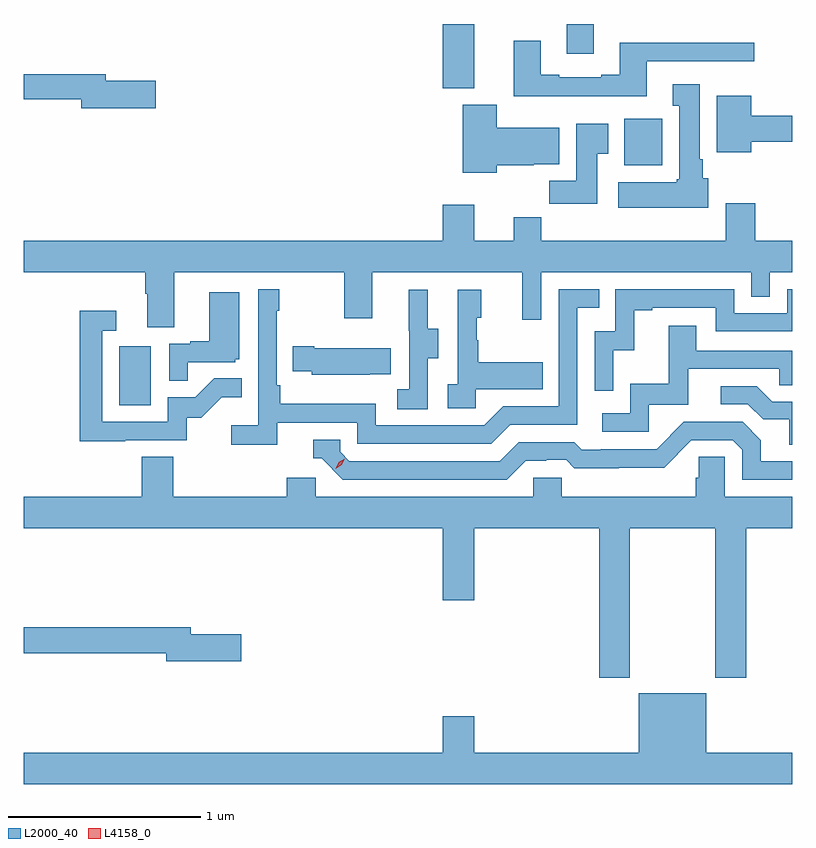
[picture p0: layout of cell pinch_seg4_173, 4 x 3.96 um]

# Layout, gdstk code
import gdstk
lib = gdstk.Library(unit=1e-6, precision=1e-09)
def R(c, l, rs):  # rectangles x0, y0, x1, y1
    for r in rs: c.add(gdstk.rectangle(r[:2], r[2:], *l))
def P(c, l, *ps):  # polygons
    for p in ps: c.add(gdstk.Polygon(p, *l))
L2000_40 = (2000, 40)
L4158_0 = (4158, 0)

pinch_seg4_173 = lib.new_cell('pinch_seg4_173')
R(pinch_seg4_173, L2000_40, [(1086.398,797.46,1086.562,797.767), (1089.029,798.71,1089.226,798.952), (1088.084,799.11,1088.248,799.445), (1088.729,799.29,1088.869,799.445)])
P(pinch_seg4_173, L2000_40, [(1089.145,799.251),(1089.706,799.251),(1089.706,799.348),(1089.005,799.348),(1089.005,799.18),(1088.909,799.18),(1088.909,799.167),(1088.689,799.167),(1088.689,799.18),(1088.593,799.18),(1088.593,799.357),(1088.453,799.357),(1088.453,799.07),(1089.145,799.07)],
  [(1086.589,799.149),(1086.328,799.149),(1086.328,799.183),(1085.902,799.183),(1085.902,799.054),(1086.2,799.054),(1086.2,799.007),(1086.589,799.007)],
  [(1089.466,798.642),(1089.436,798.642),(1089.436,798.742),(1089.421,798.742),(1089.421,799.132),(1089.281,799.132),(1089.281,799.019),(1089.314,799.019),(1089.314,798.636),(1089.301,798.636),(1089.301,798.622),(1088.997,798.622),(1088.997,798.488),(1089.466,798.488)],
  [(1089.688,798.832),(1089.902,798.832),(1089.902,798.968),(1089.688,798.968),(1089.688,799.072),(1089.509,799.072),(1089.509,798.776),(1089.688,798.776)],
  [(1088.364,798.71),(1088.556,798.71),(1088.556,798.716),(1088.689,798.716),(1088.689,798.904),(1088.364,798.904),(1088.364,799.024),(1088.186,799.024),(1088.186,798.671),(1088.364,798.671)],
  [(1088.887,798.769),(1088.944,798.769),(1088.944,798.925),(1088.777,798.925),(1088.777,798.628),(1088.638,798.628),(1088.638,798.51),(1088.887,798.51)],
  [(1086.685,798.152),(1087.57,798.152),(1087.57,797.913),(1087.717,797.913),(1087.717,798.152),(1088.498,798.152),(1088.498,797.904),(1088.595,797.904),(1088.595,798.152),(1089.69,798.152),(1089.69,798.025),(1089.786,798.025),(1089.786,798.152),(1089.902,798.152),(1089.902,798.316),(1089.71,798.316),(1089.71,798.511),(1089.557,798.511),(1089.557,798.316),(1088.597,798.316),(1088.597,798.44),(1088.453,798.44),(1088.453,798.316),(1088.248,798.316),(1088.248,798.505),(1088.084,798.505),(1088.084,798.316),(1085.902,798.316),(1085.902,798.152),(1086.533,798.152),(1086.533,798.04),(1086.545,798.04),(1086.545,797.866),(1086.685,797.866)],
  [(1087.22,797.37),(1087.638,797.37),(1087.638,797.259),(1088.335,797.259),(1088.434,797.358),(1088.784,797.358),(1088.784,797.967),(1088.897,797.967),(1088.897,798.063),(1088.688,798.063),(1088.688,797.454),(1088.397,797.454),(1088.298,797.355),(1087.734,797.355),(1087.734,797.467),(1087.238,797.467),(1087.238,797.563),(1087.218,797.563),(1087.218,797.951),(1087.231,797.951),(1087.231,798.064),(1087.122,798.064),(1087.122,797.356),(1086.981,797.356),(1086.981,797.254),(1087.22,797.254)],
  [(1088.97,797.747),(1089.08,797.747),(1089.08,797.955),(1089.175,797.955),(1089.175,797.967),(1089.504,797.967),(1089.504,797.844),(1089.902,797.844),(1089.902,798.063),(1089.876,798.063),(1089.876,797.94),(1089.6,797.94),(1089.6,798.063),(1088.982,798.063),(1088.982,797.844),(1088.874,797.844),(1088.874,797.535),(1088.97,797.535)],
  [(1088.256,797.543),(1088.603,797.543),(1088.603,797.683),(1088.269,797.683),(1088.269,797.798),(1088.259,797.798),(1088.259,797.916),(1088.284,797.916),(1088.284,798.061),(1088.16,798.061),(1088.16,797.57),(1088.109,797.57),(1088.109,797.445),(1088.256,797.445)],
  [(1088.004,797.704),(1088.059,797.704),(1088.059,797.859),(1088.005,797.859),(1088.005,798.061),(1087.907,798.061),(1087.907,797.847),(1087.908,797.847),(1087.908,797.543),(1087.845,797.543),(1087.845,797.44),(1088.004,797.44)],
  [(1086.755,797.685),(1087.002,797.685),(1087.002,797.7),(1087.024,797.7),(1087.024,798.049),(1086.866,798.049),(1086.866,797.794),(1086.767,797.794),(1086.767,797.781),(1086.66,797.781),(1086.66,797.587),(1086.755,797.587)],
  [(1086.431,797.277),(1086.75,797.277),(1086.75,797.394),(1086.826,797.394),(1086.933,797.501),(1087.037,797.501),(1087.037,797.6),(1086.893,797.6),(1086.795,797.502),(1086.651,797.502),(1086.651,797.373),(1086.309,797.373),(1086.309,797.847),(1086.382,797.847),(1086.382,797.953),(1086.193,797.953),(1086.193,797.272),(1086.431,797.272)],
  [(1089.156,797.463),(1089.361,797.463),(1089.361,797.649),(1089.835,797.649),(1089.835,797.565),(1089.902,797.565),(1089.902,797.745),(1089.403,797.745),(1089.403,797.875),(1089.259,797.875),(1089.259,797.572),(1089.06,797.572),(1089.06,797.418),(1088.913,797.418),(1088.913,797.322),(1089.156,797.322)],
  [(1087.703,797.621),(1087.811,797.621),(1087.811,797.758),(1087.414,797.758),(1087.414,797.766),(1087.303,797.766),(1087.303,797.636),(1087.401,797.636),(1087.401,797.618),(1087.703,797.618)],
  [(1089.902,797.478),(1089.799,797.478),(1089.718,797.559),(1089.531,797.559),(1089.531,797.466),(1089.672,797.466),(1089.752,797.386),(1089.887,797.386),(1089.887,797.254),(1089.902,797.254)],
  [(1088.515,797.172),(1088.622,797.172),(1088.622,797.175),(1088.725,797.175),(1088.767,797.133),(1089,797.133),(1089,797.135),(1089.236,797.135),(1089.378,797.277),(1089.594,797.277),(1089.642,797.229),(1089.642,797.073),(1089.902,797.073),(1089.902,797.169),(1089.739,797.169),(1089.739,797.279),(1089.645,797.373),(1089.339,797.373),(1089.198,797.232),(1088.905,797.232),(1088.905,797.229),(1088.806,797.229),(1088.767,797.268),(1088.478,797.268),(1088.379,797.169),(1087.596,797.169),(1087.548,797.217),(1087.548,797.28),(1087.409,797.28),(1087.409,797.184),(1087.452,797.184),(1087.563,797.073),(1088.416,797.073)],
  [(1089.057,796.82),(1089.502,796.82),(1089.502,796.041),(1089.662,796.041),(1089.662,796.82),(1089.902,796.82),(1089.902,796.984),(1089.552,796.984),(1089.552,797.192),(1089.415,797.192),(1089.415,797.082),(1089.401,797.082),(1089.401,796.984),(1088.703,796.984),(1088.703,797.082),(1088.553,797.082),(1088.553,796.984),(1087.422,796.984),(1087.422,797.082),(1087.271,797.082),(1087.271,796.984),(1086.68,796.984),(1086.68,797.192),(1086.515,797.192),(1086.515,796.984),(1085.902,796.984),(1085.902,796.82),(1088.084,796.82),(1088.084,796.446),(1088.248,796.446),(1088.248,796.82),(1088.897,796.82),(1088.897,796.041),(1089.057,796.041)],
  [(1087.033,796.268),(1086.772,796.268),(1086.772,796.304),(1085.902,796.304),(1085.902,796.168),(1086.644,796.168),(1086.644,796.126),(1087.033,796.126)],
  [(1089.902,795.652),(1089.454,795.652),(1089.454,795.961),(1089.104,795.961),(1089.104,795.652),(1088.248,795.652),(1088.248,795.841),(1088.084,795.841),(1088.084,795.652),(1085.902,795.652),(1085.902,795.488),(1089.902,795.488)])
P(pinch_seg4_173, L4158_0, [(1087.527,797.129),(1087.527,797.13),(1087.542,797.162),(1087.572,797.182),(1087.573,797.182),(1087.573,797.182),(1087.557,797.149),(1087.527,797.129)])

lib.write_gds('pinch_seg4_173.gds')
